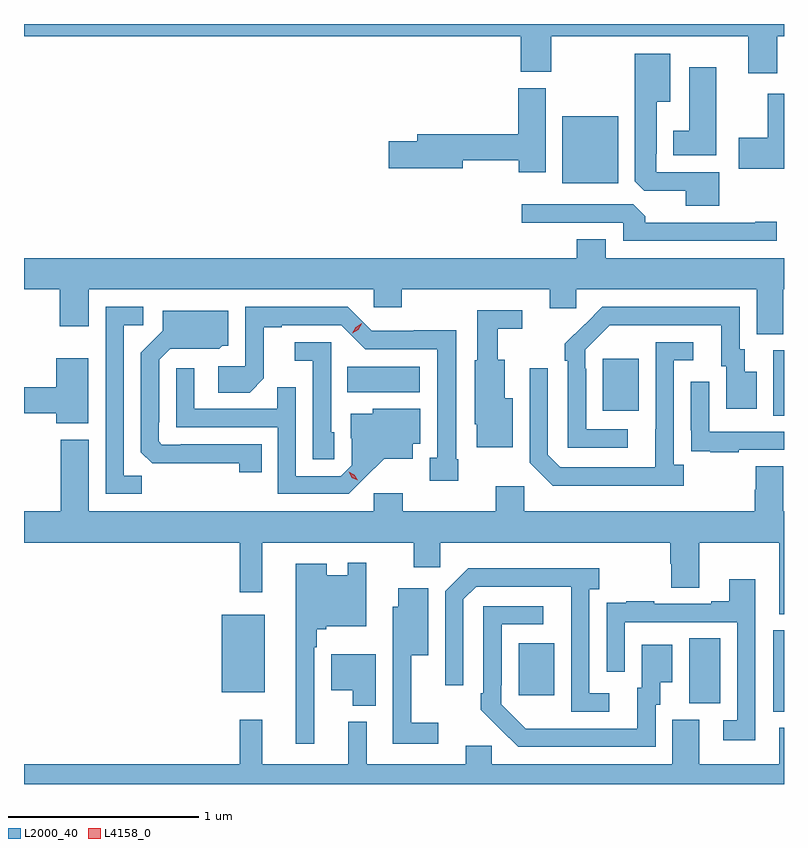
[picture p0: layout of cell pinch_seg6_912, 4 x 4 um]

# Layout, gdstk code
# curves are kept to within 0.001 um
import gdstk
lib = gdstk.Library(unit=1e-6, precision=1e-09)
def R(c, l, rs):  # rectangles x0, y0, x1, y1
    for r in rs: c.add(gdstk.rectangle(r[:2], r[2:], *l))
def P(c, l, *ps):  # polygons
    for p in ps: c.add(gdstk.Polygon(p, *l))
L2000_40 = (2000, 40)
L4158_0 = (4158, 0)

pinch_seg6_912 = lib.new_cell('pinch_seg6_912')
R(pinch_seg6_912, L2000_40, [(331.64,923.801,331.696,924.229), (331.196,923.845,331.36,924.188), (330.299,923.889,330.487,924.163), (328.736,923.903,328.963,924.313), (331.64,925.36,331.696,925.704), (330.743,925.385,330.931,925.66), (329.398,925.484,329.779,925.618), (330.53,926.582,330.823,926.935)])
P(pinch_seg6_912, L2000_40, [(331.661,927.356),(331.696,927.356),(331.696,927.421),(327.696,927.421),(327.696,927.356),(330.311,927.356),(330.311,927.169),(330.471,927.169),(330.471,927.356),(331.508,927.356),(331.508,927.162),(331.661,927.162)],
  [(331.354,926.64),(331.023,926.64),(331.023,926.737),(331.027,926.737),(331.027,927.011),(331.096,927.011),(331.096,927.265),(330.911,927.265),(330.911,926.593),(330.96,926.544),(331.178,926.544),(331.178,926.465),(331.354,926.465)],
  [(331.339,927.193),(331.196,927.193),(331.196,926.86),(331.112,926.86),(331.112,926.729),(331.339,926.729)],
  [(330.442,927.084),(330.296,927.084),(330.296,926.84),(329.765,926.84),(329.765,926.804),(329.616,926.804),(329.616,926.662),(330.004,926.662),(330.004,926.704),(330.301,926.704),(330.301,926.64),(330.442,926.64)],
  [(331.696,927.055),(331.61,927.055),(331.61,926.823),(331.458,926.823),(331.458,926.66),(331.696,926.66)],
  [(331.657,926.381),(331.544,926.381),(331.544,926.376),(330.965,926.376),(330.965,926.41),(330.903,926.472),(330.315,926.472),(330.315,926.376),(330.849,926.376),(330.849,926.28),(331.657,926.28)],
  [(331.693,926.024),(331.696,926.024),(331.696,926.188),(330.757,926.188),(330.757,926.287),(330.605,926.287),(330.605,926.188),(327.696,926.188),(327.696,926.024),(327.884,926.024),(327.884,925.83),(328.036,925.83),(328.036,926.024),(329.538,926.024),(329.538,925.931),(329.685,925.931),(329.685,926.024),(330.464,926.024),(330.464,925.926),(330.603,925.926),(330.603,926.024),(331.553,926.024),(331.553,925.789),(331.693,925.789)],
  [(329.981,925.129),(329.971,925.129),(329.971,925.808),(329.748,925.808),(329.748,925.806),(329.526,925.806),(329.4,925.932),(328.86,925.932),(328.86,925.62),(328.719,925.62),(328.719,925.48),(328.883,925.48),(328.959,925.556),(328.959,925.824),(329.053,925.824),(329.053,925.836),(329.367,925.836),(329.493,925.71),(329.87,925.71),(329.87,925.137),(329.831,925.137),(329.831,925.017),(329.981,925.017)],
  [(330.874,925.287),(330.654,925.287),(330.654,925.607),(330.651,925.607),(330.651,925.707),(330.78,925.836),(331.367,925.836),(331.367,925.62),(331.391,925.62),(331.391,925.395),(331.552,925.395),(331.552,925.591),(331.489,925.591),(331.489,925.71),(331.464,925.71),(331.464,925.932),(330.74,925.932),(330.543,925.737),(330.543,925.649),(330.558,925.649),(330.558,925.191),(330.874,925.191)],
  [(328.317,925.043),(328.221,925.043),(328.221,925.836),(328.324,925.836),(328.324,925.932),(328.125,925.932),(328.125,924.948),(328.317,924.948)],
  [(330.268,925.45),(330.226,925.45),(330.226,925.654),(330.19,925.654),(330.19,925.817),(330.319,925.817),(330.319,925.914),(330.081,925.914),(330.081,925.65),(330.068,925.65),(330.068,925.314),(330.08,925.314),(330.08,925.193),(330.268,925.193)],
  [(328.946,925.209),(328.522,925.209),(328.522,925.206),(328.422,925.206),(328.404,925.224),(328.404,925.324),(328.407,925.324),(328.407,925.653),(328.467,925.713),(328.724,925.712),(328.74,925.728),(328.771,925.728),(328.771,925.912),(328.427,925.912),(328.427,925.806),(328.311,925.69),(328.311,925.168),(328.37,925.109),(328.828,925.108),(328.828,925.062),(328.946,925.062)],
  [(331.168,925.102),(331.116,925.102),(331.116,925.65),(331.219,925.65),(331.219,925.746),(331.02,925.746),(331.019,925.089),(330.519,925.089),(330.453,925.155),(330.453,925.609),(330.357,925.609),(330.357,925.113),(330.478,924.992),(331.168,924.992)],
  [(329.328,925.272),(329.313,925.272),(329.313,925.746),(329.121,925.746),(329.121,925.649),(329.217,925.649),(329.217,925.129),(329.328,925.129)],
  [(328.033,925.663),(327.866,925.663),(327.866,925.508),(327.696,925.508),(327.696,925.372),(327.866,925.372),(327.866,925.319),(328.033,925.319)],
  [(329.488,925.031),(329.591,925.133),(329.743,925.133),(329.743,925.212),(329.782,925.212),(329.782,925.396),(329.532,925.396),(329.532,925.369),(329.417,925.369),(329.417,925.24),(329.421,925.24),(329.421,925.098),(329.364,925.041),(329.127,925.041),(329.127,925.508),(329.029,925.508),(329.029,925.395),(328.593,925.395),(328.593,925.609),(328.497,925.609),(328.497,925.299),(329.031,925.299),(329.031,924.948),(329.404,924.948)],
  [(331.457,925.179),(331.696,925.179),(331.696,925.275),(331.302,925.275),(331.302,925.537),(331.206,925.537),(331.206,925.282),(331.207,925.282),(331.207,925.173),(331.309,925.173),(331.309,925.167),(331.457,925.167)],
  [(331.696,924.856),(331.693,924.856),(331.693,925.094),(331.546,925.094),(331.546,924.969),(331.541,924.969),(331.541,924.856),(330.33,924.856),(330.33,924.988),(330.179,924.988),(330.179,924.856),(329.69,924.856),(329.69,924.952),(329.538,924.952),(329.538,924.856),(328.036,924.856),(328.036,925.234),(327.889,925.234),(327.889,924.856),(327.696,924.856),(327.696,924.692),(328.831,924.692),(328.831,924.429),(328.949,924.429),(328.949,924.692),(329.747,924.692),(329.747,924.561),(329.886,924.561),(329.886,924.692),(331.097,924.692),(331.097,924.579),(331.102,924.579),(331.102,924.454),(331.249,924.454),(331.249,924.692),(331.67,924.692),(331.67,924.314),(331.696,924.314)],
  [(329.223,924.14),(329.236,924.14),(329.236,924.236),(329.286,924.236),(329.286,924.251),(329.496,924.251),(329.496,924.586),(329.4,924.586),(329.4,924.52),(329.29,924.52),(329.29,924.58),(329.126,924.58),(329.126,923.634),(329.223,923.634)],
  [(330.775,923.898),(330.672,923.898),(330.672,924.446),(330.724,924.446),(330.724,924.556),(330.034,924.556),(329.913,924.435),(329.913,923.94),(330.009,923.94),(330.009,924.393),(330.075,924.459),(330.575,924.459),(330.576,923.802),(330.775,923.802)],
  [(331.545,924.499),(331.409,924.499),(331.409,924.382),(331.313,924.382),(331.313,924.369),(331.013,924.369),(331.013,924.382),(330.865,924.382),(330.865,924.375),(330.763,924.375),(330.763,924.266),(330.762,924.266),(330.762,924.012),(330.858,924.012),(330.858,924.273),(331.449,924.273),(331.449,923.757),(331.377,923.757),(331.377,923.652),(331.545,923.652)],
  [(329.875,923.743),(329.735,923.743),(329.735,924.098),(329.824,924.098),(329.824,924.451),(329.666,924.451),(329.666,924.355),(329.637,924.355),(329.637,923.634),(329.875,923.634)],
  [(331.02,923.838),(331.045,923.838),(331.045,923.957),(331.108,923.957),(331.108,924.154),(330.947,924.154),(330.947,923.928),(330.923,923.928),(330.923,923.712),(330.336,923.713),(330.207,923.841),(330.207,923.941),(330.21,923.941),(330.21,924.261),(330.43,924.261),(330.43,924.357),(330.114,924.357),(330.114,923.899),(330.099,923.899),(330.099,923.811),(330.296,923.616),(331.02,923.616)],
  [(329.548,924.103),(329.312,924.103),(329.312,923.915),(329.426,923.915),(329.426,923.834),(329.548,923.834)],
  [(331.249,923.76),(331.109,923.76),(331.109,923.524),(330.159,923.524),(330.159,923.622),(330.02,923.622),(330.02,923.524),(329.5,923.524),(329.5,923.749),(329.402,923.749),(329.402,923.524),(328.949,923.524),(328.949,923.758),(328.831,923.758),(328.831,923.524),(327.696,923.524),(327.696,923.421),(331.696,923.421),(331.696,923.716),(331.67,923.716),(331.67,923.524),(331.249,923.524)])
P(pinch_seg6_912, L4158_0, [(329.424,925.793),(329.424,925.793),(329.441,925.826),(329.473,925.845),(329.473,925.845),(329.473,925.844),(329.456,925.812),(329.424,925.793)],
  [(329.452,925.019),(329.421,925.034),(329.404,925.064),(329.404,925.065),(329.404,925.065),(329.435,925.049),(329.452,925.019),(329.452,925.019)])

lib.write_gds('pinch_seg6_912.gds')
